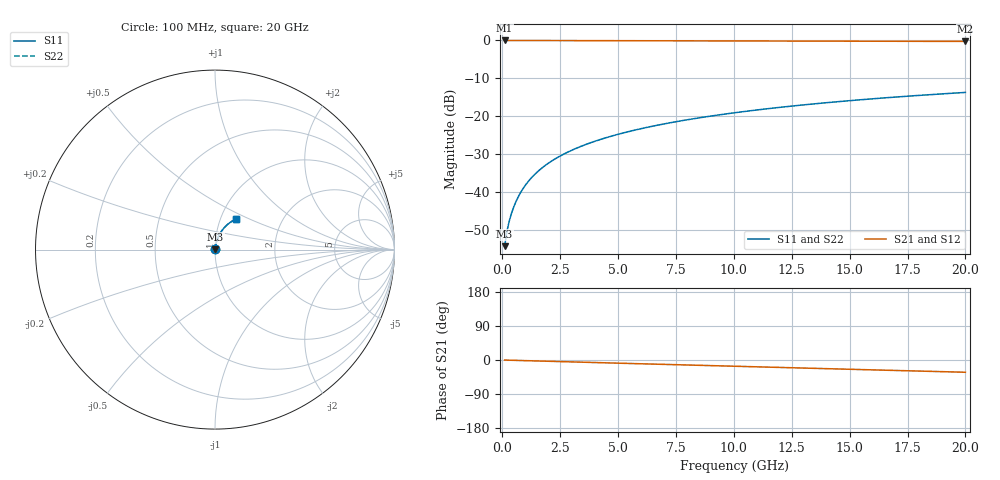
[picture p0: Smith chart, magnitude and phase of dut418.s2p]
! Touchstone file exported from HFSS 2026.1.0
!  File:  C:/ffzhzh/LocalFiles/Ansys_Project_Files/temp_train_TMRDL_418_1783005222_55676.aedt
!  Generated:  11:15:06 PM Jul  2, 2026
!  Design:  TMRDL
!  Project:  temp_train_TMRDL_418_1783005222_55676
! Variables:
!  h_bsmrdl = 2um
!  h_ox = 20um
!  h_rdl = 5um
!  h_sub = 80um
!  h_tmrdl = 5.85um
!  h_tsv = 80um
!  h_via = 3um
!  l_bsmrdl = 300um
!  l_sub = 915.51um
!  l_tmrdl = 515.51um
!  m_sub = 200um
!  pitch = 45.67um
!  r_tsv = 6um
!  s_tmrdl = 10um
!  w_bsmrdl = 18um
!  w_sub = 500um
!  w_tmrdl = 27.74um
!  x_tsv_center1 = 529.38um
!  x_tsv_center2 = 847.38um
!  x_tsv_center3 = 1390.63um
!  x_tsv_center4 = 1708.63um
!  x_tsv_center5 = 2251.88um
!  x_tsv_center6 = 2569.88um
# GHz S MA R 50.000000
! Terminal data exported
! Port[1] = TM_RDL1_1_T1
! Port[2] = TM_RDL1_1_T2
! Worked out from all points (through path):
!   200 points, 100 MHz to 20 GHz, reference 50 ohm
!   highest |S21| = -0.01 dB at 100 MHz (marker M1); lowest = -0.3 dB at 20 GHz (marker M2)
!   group delay of S21, straight-line fit = 4.48 ps
!   lowest |S11| = -54.2 dB at 100 MHz (marker M3), VSWR 1.00, Z = 50.1 + j0.141 ohm
!   |S11| at or under -10 dB: start of sweep to end of sweep
!   |S22| runs from -54.2 to -13.7 dB; largest |S21 - S12| = 2.7e-15
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0.1  0.001947 46.3  0.9987 -0.2  0.9987 -0.2  0.001947 46.3
! Gamma 0 0 0 0
! Port Impedance 50 0 50 0
0.2  0.003046 60.5  0.9985 -0.4  0.9985 -0.4  0.003046 60.5
0.3  0.004165 67.3  0.9984 -0.5  0.9984 -0.5  0.004165 67.3
0.4  0.005307 71.4  0.9984 -0.7  0.9984 -0.7  0.005307 71.4
0.5  0.00647 74.2  0.9983 -0.9  0.9983 -0.9  0.00647 74.2
0.6  0.007646 76.0  0.9983 -1.0  0.9983 -1.0  0.007646 76.0
0.8  0.01002 78.3  0.9982 -1.4  0.9982 -1.4  0.01002 78.3
1.1  0.0136 79.9  0.998 -1.9  0.998 -1.9  0.0136 79.9
1.3  0.01599 80.4  0.9978 -2.2  0.9978 -2.2  0.01599 80.4
1.5  0.01836 80.7  0.9977 -2.6  0.9977 -2.6  0.01836 80.7
1.8  0.0219 80.8  0.9974 -3.1  0.9974 -3.1  0.0219 80.8
2.1  0.02541 80.6  0.9971 -3.6  0.9971 -3.6  0.02541 80.6
2.7  0.03233 80.1  0.9965 -4.6  0.9965 -4.6  0.03233 80.1
3.5  0.04138 79.2  0.9956 -5.9  0.9956 -5.9  0.04138 79.2
4.2  0.04917 78.3  0.9948 -7.0  0.9948 -7.0  0.04917 78.3
5  0.05797 77.3  0.9939 -8.4  0.9939 -8.4  0.05797 77.3
6.8  0.07745 74.8  0.9918 -11.3  0.9918 -11.3  0.07745 74.8
8.3  0.09338 72.7  0.9899 -13.7  0.9899 -13.7  0.09338 72.7
10.1  0.1121 70.1  0.9873 -16.6  0.9873 -16.6  0.1121 70.1
13.4  0.1453 65.2  0.9821 -21.9  0.9821 -21.9  0.1453 65.2
16.7  0.1768 60.3  0.9762 -27.2  0.9762 -27.2  0.1768 60.3
20  0.2063 55.3  0.9698 -32.3  0.9698 -32.3  0.2063 55.3
